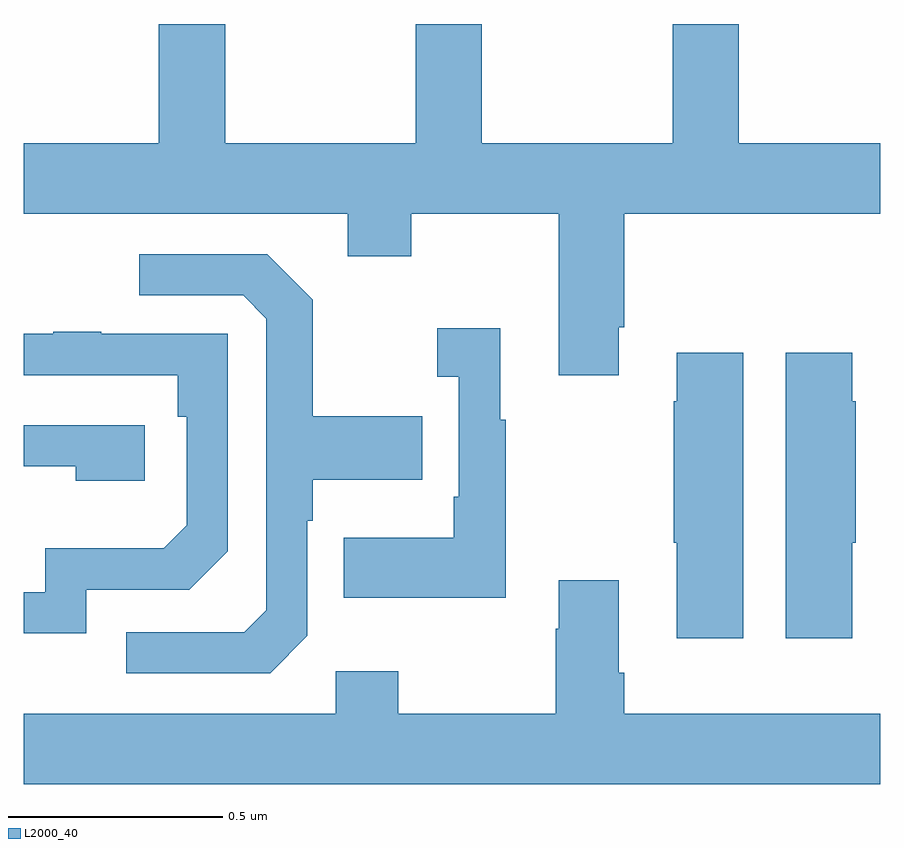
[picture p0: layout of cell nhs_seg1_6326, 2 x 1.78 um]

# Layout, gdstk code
import gdstk
lib = gdstk.Library(unit=1e-6, precision=1e-09)
def P(c, l, *ps):  # polygons
    for p in ps: c.add(gdstk.Polygon(p, *l))
L2000_40 = (2000, 40)

nhs_seg1_6326 = lib.new_cell('nhs_seg1_6326')
P(nhs_seg1_6326, L2000_40, [(192,527.92),(191.67,527.92),(191.67,528.199),(191.515,528.199),(191.515,527.92),(191.07,527.92),(191.07,528.199),(190.915,528.199),(190.915,527.92),(190.47,527.92),(190.47,528.199),(190.315,528.199),(190.315,527.92),(190,527.92),(190,527.756),(190.757,527.756),(190.757,527.657),(190.905,527.657),(190.905,527.756),(191.249,527.756),(191.249,527.379),(191.389,527.379),(191.389,527.491),(191.402,527.491),(191.402,527.756),(192,527.756)],
  [(190.662,526.77),(190.662,527.039),(190.675,527.039),(190.675,527.135),(190.931,527.135),(190.931,527.283),(190.675,527.283),(190.675,527.555),(190.569,527.661),(190.269,527.661),(190.269,527.565),(190.512,527.565),(190.566,527.511),(190.566,526.83),(190.515,526.779),(190.239,526.779),(190.239,526.683),(190.575,526.683)],
  [(191.125,527.275),(191.113,527.275),(191.113,527.488),(190.965,527.488),(190.965,527.375),(191.016,527.375),(191.016,527.095),(191.004,527.095),(191.004,526.999),(190.747,526.999),(190.747,526.859),(191.125,526.859)],
  [(190.146,526.878),(190.386,526.878),(190.476,526.968),(190.476,527.475),(190.181,527.475),(190.181,527.48),(190.069,527.48),(190.069,527.475),(190,527.475),(190,527.379),(190.36,527.379),(190.36,527.282),(190.38,527.282),(190.38,527.028),(190.327,526.975),(190.05,526.975),(190.05,526.872),(190,526.872),(190,526.776),(190.146,526.776)],
  [(191.68,527.431),(191.525,527.431),(191.525,527.318),(191.518,527.318),(191.518,526.987),(191.525,526.987),(191.525,526.764),(191.68,526.764)],
  [(191.935,526.987),(191.943,526.987),(191.943,527.318),(191.935,527.318),(191.935,527.431),(191.78,527.431),(191.78,526.764),(191.935,526.764)],
  [(190.282,527.262),(190,527.262),(190,527.166),(190.121,527.166),(190.121,527.132),(190.282,527.132)],
  [(192,526.588),(191.402,526.588),(191.402,526.684),(191.389,526.684),(191.389,526.9),(191.249,526.9),(191.249,526.787),(191.242,526.787),(191.242,526.588),(190.875,526.588),(190.875,526.687),(190.728,526.687),(190.728,526.588),(190,526.588),(190,526.424),(192,526.424)])

lib.write_gds('nhs_seg1_6326.gds')
